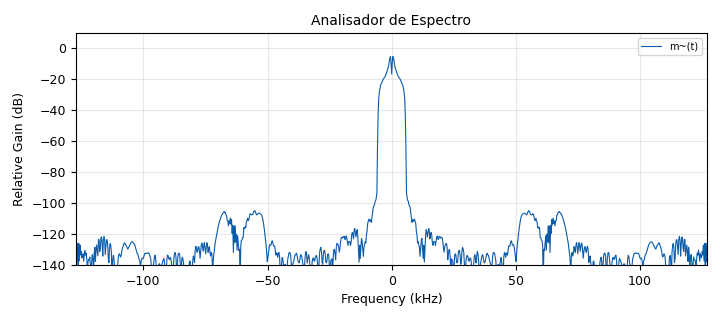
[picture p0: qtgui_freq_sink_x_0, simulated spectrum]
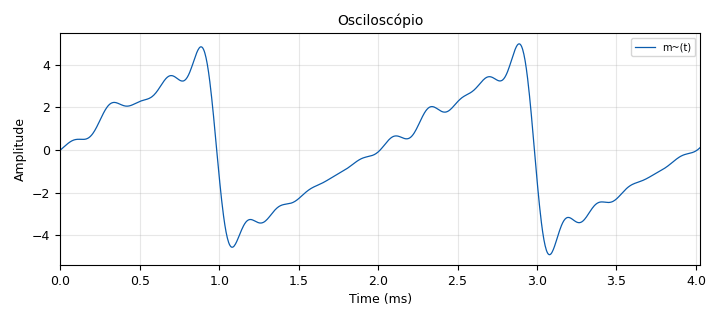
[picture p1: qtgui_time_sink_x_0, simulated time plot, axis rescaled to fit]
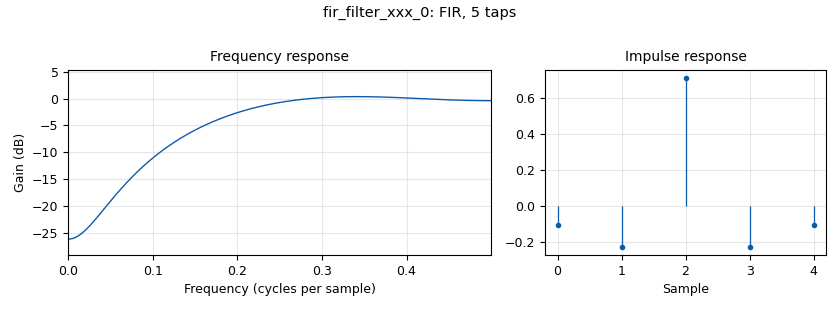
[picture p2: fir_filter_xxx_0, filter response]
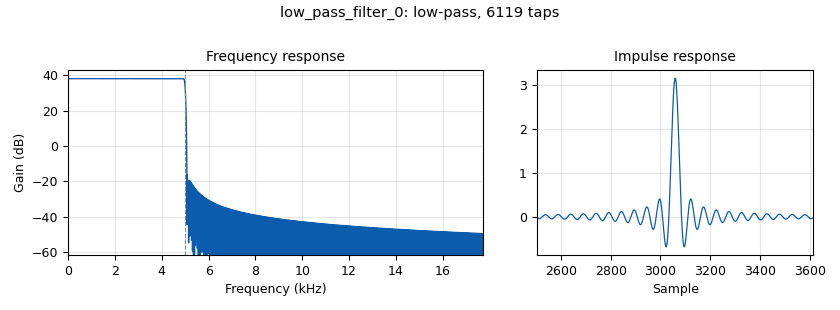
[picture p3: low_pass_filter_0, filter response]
options:
  parameters:
    author: pedro
    generate_options: qt_gui
    id: m180108140_Exp05_AR03
    output_language: python
    title: AR03
  states: {}

blocks:
- name: pi
  id: variable
  parameters:
    value: '3.141592654'
  states: {}
- name: samp_rate
  id: variable
  parameters:
    value: '254000'
  states: {}
- name: analog_sig_source_x_0
  id: analog_sig_source_x
  parameters:
    amp: '10'
    freq: '500'
    offset: '-5'
    phase: '0'
    samp_rate: samp_rate
    type: float
    waveform: analog.GR_SAW_WAVE
  states: {}
- name: analog_sig_source_x_1
  id: analog_sig_source_x
  parameters:
    amp: '1'
    freq: '30000'
    offset: '0'
    phase: '0'
    samp_rate: samp_rate
    type: complex
    waveform: analog.GR_COS_WAVE
  states: {}
- name: blocks_abs_xx_0
  id: blocks_abs_xx
  parameters:
    type: float
  states: {}
- name: blocks_complex_to_real_0
  id: blocks_complex_to_real
  parameters: {}
  states: {}
- name: blocks_multiply_xx_0
  id: blocks_multiply_xx
  parameters:
    type: complex
  states: {}
- name: blocks_throttle_0
  id: blocks_throttle
  parameters:
    samples_per_second: samp_rate
    type: float
  states: {}
- name: blocks_throttle_0_0
  id: blocks_throttle
  parameters:
    samples_per_second: samp_rate
    type: complex
  states: {}
- name: blocks_vco_c_0
  id: blocks_vco_c
  parameters:
    amplitude: '1'
    samp_rate: samp_rate
    sensitivity: 2000*pi
  states: {}
- name: dc_blocker_xx_0
  id: dc_blocker_xx
  parameters:
    length: '1024'
    long_form: 'True'
    type: ff
  states: {}
- name: fir_filter_xxx_0
  id: fir_filter_xxx
  parameters:
    decim: '1'
    taps: '[-0.1044, -0.2268, 0.7116, -0.2268, -0.1044]'
    type: ccc
  states: {}
- name: low_pass_filter_0
  id: low_pass_filter
  parameters:
    cutoff_freq: '5000'
    decim: '1'
    gain: '80'
    samp_rate: samp_rate
    type: fir_filter_fff
    width: '100'
    win: firdes.WIN_HAMMING
  states: {}
- name: qtgui_freq_sink_x_0
  id: qtgui_freq_sink_x
  parameters:
    bw: samp_rate
    ctrlpanel: 'True'
    fc: '0'
    fftsize: '1024'
    grid: 'True'
    label1: m~(t)
    name: Analisador de Espectro
    type: float
    wintype: firdes.WIN_BLACKMAN_hARRIS
  states: {}
- name: qtgui_time_sink_x_0
  id: qtgui_time_sink_x
  parameters:
    ctrlpanel: 'True'
    grid: 'True'
    label1: m~(t)
    name: Osciloscópio
    size: '1024'
    srate: samp_rate
    tr_mode: qtgui.TRIG_MODE_AUTO
    type: float
    yunit: V
  states: {}

connections:
- [analog_sig_source_x_0, '0', blocks_throttle_0, '0']
- [analog_sig_source_x_1, '0', blocks_throttle_0_0, '0']
- [blocks_abs_xx_0, '0', low_pass_filter_0, '0']
- [blocks_complex_to_real_0, '0', blocks_abs_xx_0, '0']
- [blocks_multiply_xx_0, '0', fir_filter_xxx_0, '0']
- [blocks_throttle_0, '0', blocks_vco_c_0, '0']
- [blocks_throttle_0_0, '0', blocks_multiply_xx_0, '1']
- [blocks_vco_c_0, '0', blocks_multiply_xx_0, '0']
- [dc_blocker_xx_0, '0', qtgui_freq_sink_x_0, '0']
- [dc_blocker_xx_0, '0', qtgui_time_sink_x_0, '0']
- [fir_filter_xxx_0, '0', blocks_complex_to_real_0, '0']
- [low_pass_filter_0, '0', dc_blocker_xx_0, '0']

metadata:
  file_format: 1
